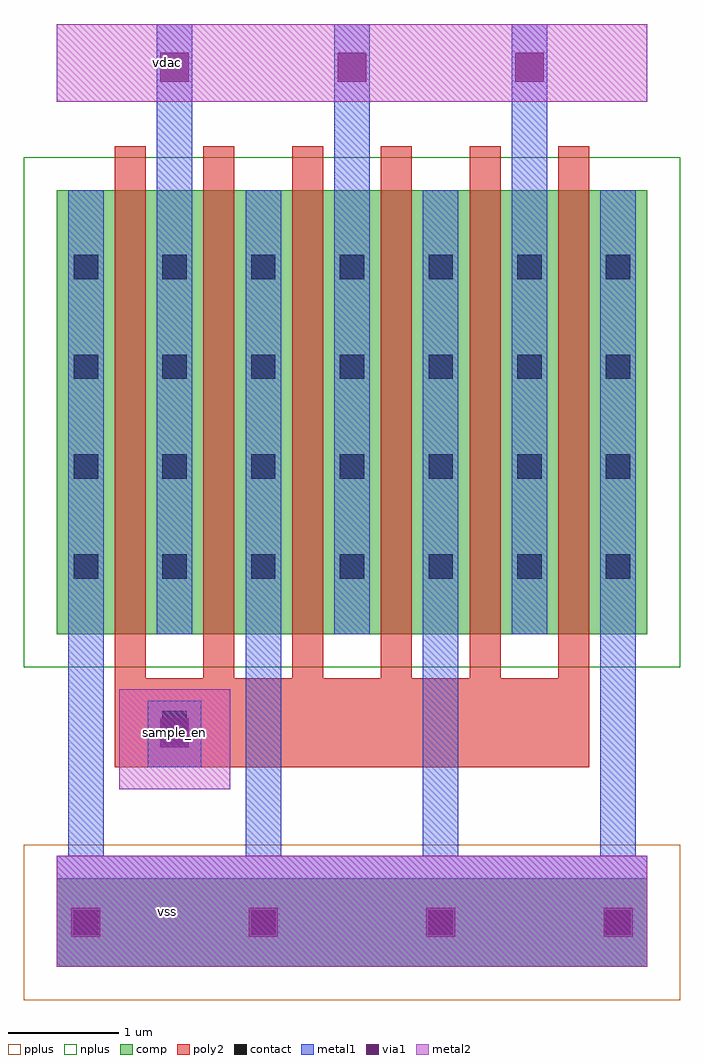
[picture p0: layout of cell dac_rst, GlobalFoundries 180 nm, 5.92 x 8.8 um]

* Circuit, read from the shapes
.subckt dac_rst sample_en vdac vss
XM1 vdac sample_en vss vss nfet_03v3 w=4u l=0.28u m=6
.ends

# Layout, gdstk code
import gdstk
lib = gdstk.Library(unit=1e-6, precision=1e-09)
def R(c, l, rs):  # rectangles x0, y0, x1, y1
    for r in rs: c.add(gdstk.rectangle(r[:2], r[2:], *l))
def A(c, l, x, y, w, h, nx, ny, dx, dy):  # array of equal rectangles
    R(c, l, [(x+i*dx, y+j*dy, x+i*dx+w, y+j*dy+h) for i in range(nx) for j in range(ny)])
comp = (22, 0)
poly2 = (30, 0)
pplus = (31, 0)
nplus = (32, 0)
contact = (33, 0)
metal1 = (34, 0)
via1 = (35, 0)
metal2 = (36, 0)

gf180mcu_nfet_l_0_280_w_ = lib.new_cell('gf180mcu.nfet(L=0.280,W=24.000,nf=6)')

dac_rst = lib.new_cell('dac_rst')
R(dac_rst, comp, [(5,7,10.32,7.8), (5,10,10.32,14)])
A(dac_rst, poly2, 5.52, 9.6, 0.28, 4.8, 6, 1, 0.8, 0)
R(dac_rst, poly2, [(5.52,8.8,9.8,9.6)])
R(dac_rst, pplus, [(4.7,6.7,10.62,8.1)])
R(dac_rst, nplus, [(4.7,9.7,10.62,14.3)])
A(dac_rst, contact, 5.15, 7.29, 0.22, 0.22, 4, 1, 1.6, 0)
A(dac_rst, contact, 5.15, 10.5, 0.22, 0.22, 7, 4, 0.8, 0.9)
R(dac_rst, contact, [(5.95,9.09,6.17,9.31)])
A(dac_rst, metal1, 5.1, 7, 0.32, 7, 4, 1, 1.6, 0)
A(dac_rst, metal1, 5.9, 10, 0.32, 5.5, 3, 1, 1.6, 0)
R(dac_rst, metal1, [(5,7,10.32,8), (5.82,8.8,6.3,9.4)])
A(dac_rst, via1, 5.13, 7.27, 0.26, 0.26, 4, 1, 1.6, 0)
A(dac_rst, via1, 5.93, 14.98, 0.26, 0.26, 3, 1, 1.6, 0)
R(dac_rst, via1, [(5.93,8.98,6.19,9.24)])
R(dac_rst, metal2, [(5,7,10.32,8), (5.56,8.6,6.56,9.5), (5,14.8,10.32,15.5)])
dac_rst.add(gdstk.Reference(gf180mcu_nfet_l_0_280_w_, (0,0)))
dac_rst.add(gdstk.Label('sample_en', (6.06,9.11), layer=36, texttype=10))
dac_rst.add(gdstk.Label('vss', (6,7.5), layer=36, texttype=10))
dac_rst.add(gdstk.Label('vdac', (6,15.15), layer=36, texttype=10))

lib.write_gds('dac_rst.gds')
